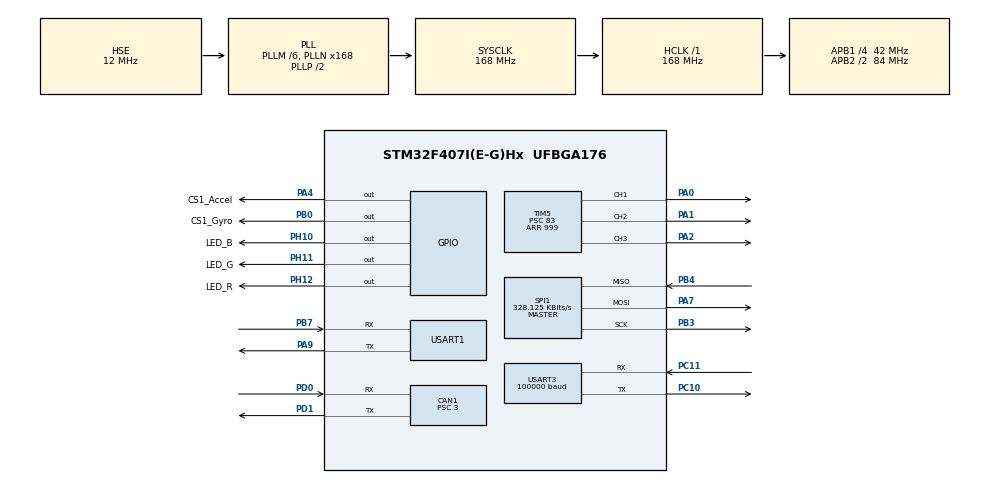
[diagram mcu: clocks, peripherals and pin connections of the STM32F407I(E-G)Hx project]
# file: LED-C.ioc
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CAN1.BS1=CAN_BS1_10TQ
CAN1.BS2=CAN_BS2_3TQ
CAN1.CalculateBaudRate=1000000
CAN1.CalculateTimeBit=1000
CAN1.CalculateTimeQuantum=71.42857142857143
CAN1.Prescaler=3
Dma.Request0=USART1_RX
Dma.Request1=USART1_TX
Dma.Request2=USART3_RX
Dma.Request3=USART3_TX
Dma.USART1_RX.0.Direction=DMA_PERIPH_TO_MEMORY
Dma.USART1_RX.0.FIFOMode=DMA_FIFOMODE_DISABLE
Dma.USART1_RX.0.Instance=DMA2_Stream2
Dma.USART1_RX.0.MemDataAlignment=DMA_MDATAALIGN_BYTE
Dma.USART1_RX.0.MemInc=DMA_MINC_ENABLE
Dma.USART1_RX.0.Mode=DMA_NORMAL
Dma.USART1_RX.0.PeriphDataAlignment=DMA_PDATAALIGN_BYTE
Dma.USART1_RX.0.PeriphInc=DMA_PINC_DISABLE
Dma.USART1_RX.0.Priority=DMA_PRIORITY_LOW
Dma.USART1_TX.1.Direction=DMA_MEMORY_TO_PERIPH
Dma.USART1_TX.1.FIFOMode=DMA_FIFOMODE_DISABLE
Dma.USART1_TX.1.Instance=DMA2_Stream7
Dma.USART1_TX.1.MemDataAlignment=DMA_MDATAALIGN_BYTE
Dma.USART1_TX.1.MemInc=DMA_MINC_ENABLE
Dma.USART1_TX.1.Mode=DMA_NORMAL
Dma.USART1_TX.1.PeriphDataAlignment=DMA_PDATAALIGN_BYTE
Dma.USART1_TX.1.PeriphInc=DMA_PINC_DISABLE
Dma.USART1_TX.1.Priority=DMA_PRIORITY_LOW
Dma.USART3_RX.2.Direction=DMA_PERIPH_TO_MEMORY
Dma.USART3_RX.2.FIFOMode=DMA_FIFOMODE_DISABLE
Dma.USART3_RX.2.Instance=DMA1_Stream1
Dma.USART3_RX.2.MemDataAlignment=DMA_MDATAALIGN_BYTE
Dma.USART3_RX.2.MemInc=DMA_MINC_ENABLE
Dma.USART3_RX.2.Mode=DMA_NORMAL
Dma.USART3_RX.2.PeriphDataAlignment=DMA_PDATAALIGN_BYTE
Dma.USART3_RX.2.PeriphInc=DMA_PINC_DISABLE
Dma.USART3_RX.2.Priority=DMA_PRIORITY_LOW
Dma.USART3_TX.3.Direction=DMA_MEMORY_TO_PERIPH
Dma.USART3_TX.3.FIFOMode=DMA_FIFOMODE_DISABLE
Dma.USART3_TX.3.Instance=DMA1_Stream3
Dma.USART3_TX.3.MemDataAlignment=DMA_MDATAALIGN_BYTE
Dma.USART3_TX.3.MemInc=DMA_MINC_ENABLE
Dma.USART3_TX.3.Mode=DMA_NORMAL
Dma.USART3_TX.3.PeriphDataAlignment=DMA_PDATAALIGN_BYTE
Dma.USART3_TX.3.PeriphInc=DMA_PINC_DISABLE
Dma.USART3_TX.3.Priority=DMA_PRIORITY_LOW
IWDG.Prescaler=IWDG_PRESCALER_16
IWDG.Reload=3199
Mcu.Family=STM32F4
Mcu.Name=STM32F407I(E-G)Hx
Mcu.Package=UFBGA176
NVIC.CAN1_RX0_IRQn=true\:0\:0\:false\:false\:true\:true\:true\:true
NVIC.CAN1_RX1_IRQn=true\:0\:0\:false\:false\:true\:true\:true\:true
NVIC.CAN1_SCE_IRQn=true\:0\:0\:false\:false\:true\:true\:true\:true
NVIC.CAN1_TX_IRQn=true\:0\:0\:false\:false\:true\:true\:true\:true
NVIC.DMA1_Stream1_IRQn=true\:0\:0\:false\:false\:true\:false\:true\:true
NVIC.DMA1_Stream3_IRQn=true\:0\:0\:false\:false\:true\:false\:true\:true
NVIC.DMA2_Stream2_IRQn=true\:0\:0\:false\:false\:true\:false\:true\:true
NVIC.DMA2_Stream7_IRQn=true\:0\:0\:false\:false\:true\:false\:true\:true
NVIC.PriorityGroup=NVIC_PRIORITYGROUP_4
NVIC.SPI1_IRQn=true\:0\:0\:false\:false\:true\:true\:true\:true
NVIC.TIM5_IRQn=true\:0\:0\:false\:false\:true\:true\:true\:true
NVIC.TIM6_DAC_IRQn=true\:0\:0\:false\:false\:true\:true\:true\:true
NVIC.USART1_IRQn=true\:0\:0\:false\:false\:true\:true\:true\:true
NVIC.USART3_IRQn=true\:0\:0\:false\:false\:true\:true\:true\:true
PA0-WKUP.Signal=S_TIM5_CH1
PA1.Signal=S_TIM5_CH2
PA13.Mode=Serial_Wire
PA13.Signal=SYS_JTMS-SWDIO
PA14.Mode=Serial_Wire
PA14.Signal=SYS_JTCK-SWCLK
PA2.Signal=S_TIM5_CH3
PA4.GPIO_Label=CS1_Accel
PA4.Signal=GPIO_Output
PA7.Mode=Full_Duplex_Master
PA7.Signal=SPI1_MOSI
PA9.Mode=Asynchronous
PA9.Signal=USART1_TX
PB0.GPIO_Label=CS1_Gyro
PB0.Signal=GPIO_Output
PB3.Mode=Full_Duplex_Master
PB3.Signal=SPI1_SCK
PB4.Mode=Full_Duplex_Master
PB4.Signal=SPI1_MISO
PB7.Mode=Asynchronous
PB7.Signal=USART1_RX
PC10.Mode=Asynchronous
PC10.Signal=USART3_TX
PC11.Mode=Asynchronous
PC11.Signal=USART3_RX
PD0.Mode=CAN_Activate
PD0.Signal=CAN1_RX
PD1.Mode=CAN_Activate
PD1.Signal=CAN1_TX
PH0-OSC_IN.Mode=HSE-External-Oscillator
PH0-OSC_IN.Signal=RCC_OSC_IN
PH1-OSC_OUT.Mode=HSE-External-Oscillator
PH1-OSC_OUT.Signal=RCC_OSC_OUT
PH10.GPIO_Label=LED_B
PH10.Signal=GPIO_Output
PH11.GPIO_Label=LED_G
PH11.Signal=GPIO_Output
PH12.GPIO_Label=LED_R
PH12.Signal=GPIO_Output
ProjectManager.HeapSize=0x1000
ProjectManager.StackSize=0x2000
ProjectManager.TargetToolchain=STM32CubeIDE
RCC.48MHZClocksFreq_Value=84000000
RCC.AHBFreq_Value=168000000
RCC.APB1CLKDivider=RCC_HCLK_DIV4
RCC.APB1Freq_Value=42000000
RCC.APB1TimFreq_Value=84000000
RCC.APB2CLKDivider=RCC_HCLK_DIV2
RCC.APB2Freq_Value=84000000
RCC.APB2TimFreq_Value=168000000
RCC.CortexFreq_Value=168000000
RCC.HCLKFreq_Value=168000000
RCC.HSE_VALUE=12000000
RCC.HSI_VALUE=16000000
RCC.LSE_VALUE=32768
RCC.PLLM=6
RCC.PLLN=168
RCC.PLLSourceVirtual=RCC_PLLSOURCE_HSE
RCC.SYSCLKFreq_VALUE=168000000
RCC.SYSCLKSource=RCC_SYSCLKSOURCE_PLLCLK
RCC.VCOOutputFreq_Value=336000000
SH.S_TIM5_CH1.0=TIM5_CH1,PWM Generation1 CH1
SH.S_TIM5_CH2.0=TIM5_CH2,PWM Generation2 CH2
SH.S_TIM5_CH3.0=TIM5_CH3,PWM Generation3 CH3
SPI1.BaudRatePrescaler=SPI_BAUDRATEPRESCALER_256
SPI1.CLKPhase=SPI_PHASE_2EDGE
SPI1.CLKPolarity=SPI_POLARITY_HIGH
SPI1.CalculateBaudRate=328.125 KBits/s
SPI1.Direction=SPI_DIRECTION_2LINES
SPI1.Mode=SPI_MODE_MASTER
SPI1.VirtualType=VM_MASTER
TIM5.Channel-PWM\ Generation1\ CH1=TIM_CHANNEL_1
TIM5.Channel-PWM\ Generation2\ CH2=TIM_CHANNEL_2
TIM5.Channel-PWM\ Generation3\ CH3=TIM_CHANNEL_3
TIM5.Period=999
TIM5.Prescaler=83
TIM5.Pulse-PWM\ Generation2\ CH2=1999
TIM6.Period=9999
TIM6.Prescaler=8399
USART1.Parity=PARITY_EVEN
USART1.VirtualMode=VM_ASYNC
USART3.BaudRate=100000
USART3.Parity=PARITY_EVEN
USART3.VirtualMode=VM_ASYNC
USART3.WordLength=WORDLENGTH_9B
VP_IWDG_VS_IWDG.Mode=IWDG_Activate
VP_TIM5_VS_ClockSourceINT.Mode=Internal
VP_TIM6_VS_ClockSourceINT.Mode=Enable_Timer
board=custom

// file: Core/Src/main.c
/* USER CODE BEGIN Header */
/**
  ******************************************************************************
  * @file           : main.c
  * @brief          : Main program body
  ******************************************************************************
  * @attention
  *
  * Copyright (c) 2024 STMicroelectronics.
  * All rights reserved.
  *
  * This software is licensed under terms that can be found in the LICENSE file
  * in the root directory of this software component.
  * If no LICENSE file comes with this software, it is provided AS-IS.
  *
  ******************************************************************************
  */
/* USER CODE END Header */
#include "main.h"
#include "can.h"
#include "dma.h"
#include "iwdg.h"
#include "spi.h"
#include "tim.h"
#include "usart.h"
#include "gpio.h"

/* USER CODE BEGIN Includes */
#include "../Inc/imu.h"
#include "cpp_head.h"
/* USER CODE END Includes */

void SystemClock_Config(void);

/* USER CODE BEGIN 0 */

uint8_t rxBuffer[36u]; // 遥控器生
uint8_t txBuffer[10];
float ACC[3];
float GYRO[3];
uint8_t rxData[36u]; // 遥控器生肉待处理copy
float values[4];
float remote_output[6]; // 遥控器解包熟
uint8_t aData[8]; // 电机生肉
float pitch_acc;
float roll_acc;
float pitch_gyro = 0;
float roll_gyro = 0;
float yaw_gyro = 0;
int scalar_max = 3;

/* USER CODE END 0 */

int main(void)
{

  /* MCU Configuration--------------------------------------------------------*/

  /* Reset of all peripherals, Initializes the Flash interface and the Systick. */
  HAL_Init();

  /* Configure the system clock */
  SystemClock_Config();

  /* Initialize all configured peripherals */
  MX_GPIO_Init();
  MX_DMA_Init();
  MX_TIM6_Init();
  MX_TIM5_Init();
  MX_USART1_UART_Init();
  MX_SPI1_Init();
  // MX_IWDG_Init();
  MX_USART3_UART_Init();
  MX_CAN1_Init();
  /* USER CODE BEGIN 2 */
  HAL_TIM_Base_Start_IT(&htim6);
  HAL_TIM_Base_Start_IT(&htim5);
  // HAL_TIM_PWM_Start_IT(&htim5, TIM_CHANNEL_2);
  // HAL_UART_Receive_IT(&huart1, rxBuffer, sizeof(rxBuffer));
  // HAL_UART_Receive_DMA(&huart3, rxBuffer, 18u);
  // HAL_CAN_Start(&hcan1);
  // HAL_CAN_ActivateNotification(&hcan1, CAN_IT_RX_FIFO0_MSG_PENDING);
  // HAL_CAN_ActivateNotification(&hcan1, CAN_IT_TX_MAILBOX_EMPTY);
  BMI088_Init();
  // BMI088_accel_write();
  // BMI088_ACCEL_MODE();

  CAN_FilterTypeDef canFilterConfig;
  // CAN滤波器配�?
  canFilterConfig.FilterBank = 0; // 选择滤波器银�?
  canFilterConfig.FilterMode = CAN_FILTERMODE_IDMASK; // 设置滤波器模式为ID掩码模式
  canFilterConfig.FilterScale = CAN_FILTERSCALE_32BIT; // 设置滤波器规模为32�?
  canFilterConfig.FilterIdHigh = 0x0000; // 设置滤波器ID高字�?
  canFilterConfig.FilterIdLow = 0x0000; // 设置滤波器ID低字�?
  canFilterConfig.FilterMaskIdHigh = 0x0000; // 设置滤波器掩码高字节
  canFilterConfig.FilterMaskIdLow = 0x0000; // 设置滤波器掩码低字节
  canFilterConfig.FilterFIFOAssignment = CAN_RX_FIFO0; // 将滤波器分配给FIFO0
  canFilterConfig.FilterActivation = ENABLE; // 启用滤波�?

  HAL_CAN_ConfigFilter(&hcan1, &canFilterConfig);

  HAL_CAN_Start(&hcan1);

  HAL_CAN_ActivateNotification(&hcan1, CAN_IT_RX_FIFO0_MSG_PENDING);

  HAL_CAN_ActivateNotification(&hcan1, CAN_IT_TX_MAILBOX_EMPTY);

  /* USER CODE END 2 */

  /* Infinite loop */
  /* USER CODE BEGIN WHILE */
  while (1)
  {
    // HAL_UART_Transmit_IT(&huart1, "txBuffer", 6);
    // BMI088_accel_read();
    // BMI088_gyro_read();
    // HAL_Delay(50);
    /* USER CODE END WHILE */

  }
}

void SystemClock_Config(void)
{
  RCC_OscInitTypeDef RCC_OscInitStruct = {0};
  RCC_ClkInitTypeDef RCC_ClkInitStruct = {0};

  /** Configure the main internal regulator output voltage
  */
  __HAL_RCC_PWR_CLK_ENABLE();
  __HAL_PWR_VOLTAGESCALING_CONFIG(PWR_REGULATOR_VOLTAGE_SCALE1);

  /** Initializes the RCC Oscillators according to the specified parameters
  * in the RCC_OscInitTypeDef structure.
  */
  RCC_OscInitStruct.OscillatorType = RCC_OSCILLATORTYPE_LSI|RCC_OSCILLATORTYPE_HSE;
  RCC_OscInitStruct.HSEState = RCC_HSE_ON;
  RCC_OscInitStruct.LSIState = RCC_LSI_ON;
  RCC_OscInitStruct.PLL.PLLState = RCC_PLL_ON;
  RCC_OscInitStruct.PLL.PLLSource = RCC_PLLSOURCE_HSE;
  RCC_OscInitStruct.PLL.PLLM = 6;
  RCC_OscInitStruct.PLL.PLLN = 168;
  RCC_OscInitStruct.PLL.PLLP = RCC_PLLP_DIV2;
  RCC_OscInitStruct.PLL.PLLQ = 4;
  if (HAL_RCC_OscConfig(&RCC_OscInitStruct) != HAL_OK)
  {
    Error_Handler();
  }

  /** Initializes the CPU, AHB and APB buses clocks
  */
  RCC_ClkInitStruct.ClockType = RCC_CLOCKTYPE_HCLK|RCC_CLOCKTYPE_SYSCLK
                              |RCC_CLOCKTYPE_PCLK1|RCC_CLOCKTYPE_PCLK2;
  RCC_ClkInitStruct.SYSCLKSource = RCC_SYSCLKSOURCE_PLLCLK;
  RCC_ClkInitStruct.AHBCLKDivider = RCC_SYSCLK_DIV1;
  RCC_ClkInitStruct.APB1CLKDivider = RCC_HCLK_DIV4;
  RCC_ClkInitStruct.APB2CLKDivider = RCC_HCLK_DIV2;

  if (HAL_RCC_ClockConfig(&RCC_ClkInitStruct, FLASH_LATENCY_5) != HAL_OK)
  {
    Error_Handler();
  }
}

void Error_Handler(void)
{
  __disable_irq();
  while (1)
  {
  }
}
